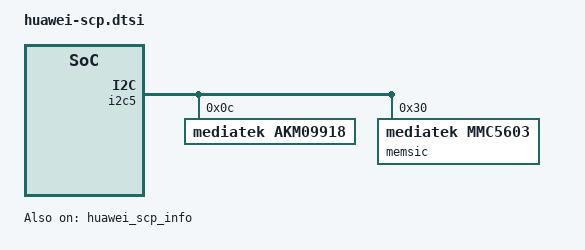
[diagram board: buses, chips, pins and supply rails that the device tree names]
&huawei_scp_info {
	compatible = "huawei,huawei_scp_info";
	product_number = <1>;
	status = "okay";
};
&i2c5 {
	akm09918@0C {
		status = "okay";
		compatible = "mediatek,akm09918";
		reg = <0x0c>;
		i2c_num = <5>;
		i2c_addr = <0x0C 0 0 0>;
		direction = <6>;
		is_batch_supported = <1>;
	};
	memsic@30 {
		status = "okay";
		compatible = "mediatek,mmc5603";
		reg = <0x30>;
		i2c_num = <5>;
		i2c_addr = <0x30 0 0 0>;
		direction = <5>;
		is_batch_supported = <1>;
	};
};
